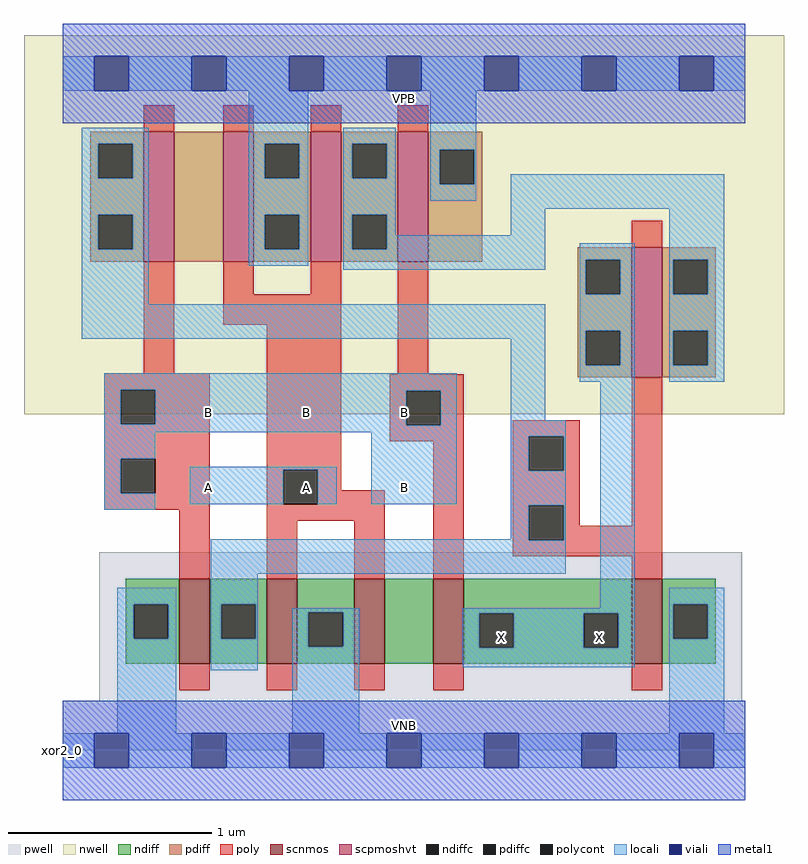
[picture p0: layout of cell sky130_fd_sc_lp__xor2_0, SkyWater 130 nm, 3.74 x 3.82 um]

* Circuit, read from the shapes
.subckt sky130_fd_sc_lp__xor2_0 A B VGND VNB VPB VPWR X
XM1 n1 B VGND VNB sky130_fd_pr__nfet_01v8 w=0.42 l=0.15
XM2 VGND A n1 VNB sky130_fd_pr__nfet_01v8 w=0.42 l=0.15
XM3 n2 A VGND VNB sky130_fd_pr__nfet_01v8 w=0.42 l=0.15
XM4 X B n2 VNB sky130_fd_pr__nfet_01v8 w=0.42 l=0.15
XM5 VGND n1 X VNB sky130_fd_pr__nfet_01v8 w=0.42 l=0.15
XM6 n3 B n1 VPB sky130_fd_pr__pfet_01v8_hvt w=0.64 l=0.15
XM7 VPWR A n3 VPB sky130_fd_pr__pfet_01v8_hvt w=0.64 l=0.15
XM8 n4 A VPWR VPB sky130_fd_pr__pfet_01v8_hvt w=0.64 l=0.15
XM9 VPWR B n4 VPB sky130_fd_pr__pfet_01v8_hvt w=0.64 l=0.15
XM10 n4 n1 X VPB sky130_fd_pr__pfet_01v8_hvt w=0.64 l=0.15
.ends

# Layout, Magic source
magic
tech sky130A
magscale 1 2
<< nwell >>
rect -38 331 710 704
<< pwell >>
rect 36 49 669 195
rect 0 0 672 49
<< scnmos >>
rect 115 85 145 169
rect 201 85 231 169
rect 287 85 317 169
rect 365 85 395 169
rect 560 85 590 169
<< scpmoshvt >>
rect 80 481 110 609
rect 158 481 188 609
rect 244 481 274 609
rect 330 481 360 609
rect 560 367 590 495
<< ndiff >>
rect 62 144 115 169
rect 62 110 70 144
rect 104 110 115 144
rect 62 85 115 110
rect 145 144 201 169
rect 145 110 156 144
rect 190 110 201 144
rect 145 85 201 110
rect 231 136 287 169
rect 231 102 242 136
rect 276 102 287 136
rect 231 85 287 102
rect 317 85 365 169
rect 395 135 560 169
rect 395 101 410 135
rect 444 101 513 135
rect 547 101 560 135
rect 395 85 560 101
rect 590 144 643 169
rect 590 110 601 144
rect 635 110 643 144
rect 590 85 643 110
<< pdiff >>
rect 27 597 80 609
rect 27 563 35 597
rect 69 563 80 597
rect 27 527 80 563
rect 27 493 35 527
rect 69 493 80 527
rect 27 481 80 493
rect 110 481 158 609
rect 188 597 244 609
rect 188 563 199 597
rect 233 563 244 597
rect 188 527 244 563
rect 188 493 199 527
rect 233 493 244 527
rect 188 481 244 493
rect 274 597 330 609
rect 274 563 285 597
rect 319 563 330 597
rect 274 527 330 563
rect 274 493 285 527
rect 319 493 330 527
rect 274 481 330 493
rect 360 591 413 609
rect 360 557 371 591
rect 405 557 413 591
rect 360 481 413 557
rect 507 483 560 495
rect 507 449 515 483
rect 549 449 560 483
rect 507 413 560 449
rect 507 379 515 413
rect 549 379 560 413
rect 507 367 560 379
rect 590 483 643 495
rect 590 449 601 483
rect 635 449 643 483
rect 590 413 643 449
rect 590 379 601 413
rect 635 379 643 413
rect 590 367 643 379
<< ndiffc >>
rect 70 110 104 144
rect 156 110 190 144
rect 242 102 276 136
rect 410 101 444 135
rect 513 101 547 135
rect 601 110 635 144
<< pdiffc >>
rect 35 563 69 597
rect 35 493 69 527
rect 199 563 233 597
rect 199 493 233 527
rect 285 563 319 597
rect 285 493 319 527
rect 371 557 405 591
rect 515 449 549 483
rect 515 379 549 413
rect 601 449 635 483
rect 601 379 635 413
<< poly >>
rect 80 609 110 635
rect 158 609 188 635
rect 244 609 274 635
rect 330 609 360 635
rect 560 495 590 521
rect 80 371 110 481
rect 158 449 188 481
rect 244 449 274 481
rect 158 419 274 449
rect 41 355 145 371
rect 41 321 57 355
rect 91 321 145 355
rect 41 287 145 321
rect 41 253 57 287
rect 91 253 145 287
rect 41 237 145 253
rect 115 169 145 237
rect 201 276 274 419
rect 330 370 360 481
rect 322 354 395 370
rect 322 320 338 354
rect 372 320 395 354
rect 322 304 395 320
rect 201 242 217 276
rect 251 256 274 276
rect 251 242 317 256
rect 201 226 317 242
rect 201 169 231 226
rect 287 169 317 226
rect 365 169 395 304
rect 443 309 509 325
rect 443 275 459 309
rect 493 275 509 309
rect 443 241 509 275
rect 443 207 459 241
rect 493 221 509 241
rect 560 221 590 367
rect 493 207 590 221
rect 443 191 590 207
rect 560 169 590 191
rect 115 59 145 85
rect 201 59 231 85
rect 287 59 317 85
rect 365 59 395 85
rect 560 59 590 85
<< polycont >>
rect 57 321 91 355
rect 57 253 91 287
rect 338 320 372 354
rect 217 242 251 276
rect 459 275 493 309
rect 459 207 493 241
<< locali >>
rect 0 649 31 683
rect 65 649 127 683
rect 161 649 223 683
rect 257 649 319 683
rect 353 649 415 683
rect 449 649 511 683
rect 545 649 607 683
rect 641 649 672 683
rect 19 597 85 613
rect 19 563 35 597
rect 69 563 85 597
rect 19 527 85 563
rect 19 493 35 527
rect 69 493 85 527
rect 19 439 85 493
rect 183 597 242 649
rect 183 563 199 597
rect 233 563 242 597
rect 183 527 242 563
rect 183 493 199 527
rect 233 493 242 527
rect 183 477 242 493
rect 276 597 328 613
rect 276 563 285 597
rect 319 563 328 597
rect 276 527 328 563
rect 362 591 407 649
rect 362 557 371 591
rect 405 557 407 591
rect 362 541 407 557
rect 276 493 285 527
rect 319 507 328 527
rect 441 533 651 567
rect 441 507 475 533
rect 319 493 475 507
rect 276 473 475 493
rect 509 483 563 499
rect 509 449 515 483
rect 549 449 563 483
rect 19 405 475 439
rect 41 355 388 371
rect 41 321 57 355
rect 91 354 388 355
rect 91 321 338 354
rect 41 320 338 321
rect 372 320 388 354
rect 41 313 388 320
rect 41 287 91 313
rect 41 253 57 287
rect 41 237 91 253
rect 125 276 270 279
rect 125 242 217 276
rect 251 242 270 276
rect 304 242 388 313
rect 441 325 475 405
rect 509 413 563 449
rect 509 379 515 413
rect 549 379 563 413
rect 509 363 563 379
rect 597 483 651 533
rect 597 449 601 483
rect 635 449 651 483
rect 597 413 651 449
rect 597 379 601 413
rect 635 379 651 413
rect 597 363 651 379
rect 441 309 495 325
rect 441 275 459 309
rect 493 275 495 309
rect 441 241 495 275
rect 441 208 459 241
rect 146 207 459 208
rect 493 207 495 241
rect 146 174 495 207
rect 54 144 112 160
rect 54 110 70 144
rect 104 110 112 144
rect 54 17 112 110
rect 146 144 192 174
rect 146 110 156 144
rect 190 110 192 144
rect 529 140 563 363
rect 146 79 192 110
rect 226 136 292 140
rect 226 102 242 136
rect 276 102 292 136
rect 226 17 292 102
rect 394 135 563 140
rect 394 101 410 135
rect 444 101 513 135
rect 547 101 563 135
rect 394 82 563 101
rect 597 144 651 160
rect 597 110 601 144
rect 635 110 651 144
rect 597 17 651 110
rect 0 -17 31 17
rect 65 -17 127 17
rect 161 -17 223 17
rect 257 -17 319 17
rect 353 -17 415 17
rect 449 -17 511 17
rect 545 -17 607 17
rect 641 -17 672 17
<< viali >>
rect 31 649 65 683
rect 127 649 161 683
rect 223 649 257 683
rect 319 649 353 683
rect 415 649 449 683
rect 511 649 545 683
rect 607 649 641 683
rect 31 -17 65 17
rect 127 -17 161 17
rect 223 -17 257 17
rect 319 -17 353 17
rect 415 -17 449 17
rect 511 -17 545 17
rect 607 -17 641 17
<< metal1 >>
rect 0 683 672 715
rect 0 649 31 683
rect 65 649 127 683
rect 161 649 223 683
rect 257 649 319 683
rect 353 649 415 683
rect 449 649 511 683
rect 545 649 607 683
rect 641 649 672 683
rect 0 617 672 649
rect 0 17 672 49
rect 0 -17 31 17
rect 65 -17 127 17
rect 161 -17 223 17
rect 257 -17 319 17
rect 353 -17 415 17
rect 449 -17 511 17
rect 545 -17 607 17
rect 641 -17 672 17
rect 0 -49 672 -17
<< labels >>
flabel pwell s 0 0 672 49 0 FreeSans 200 0 0 0 VNB
port 4 nsew ground bidirectional
flabel nwell s 0 617 672 666 0 FreeSans 200 0 0 0 VPB
port 5 nsew power bidirectional
rlabel comment s 0 0 0 0 4 xor2_0
flabel metal1 s 0 617 672 666 0 FreeSans 340 0 0 0 VPWR
port 6 nsew power bidirectional
flabel metal1 s 0 0 672 49 0 FreeSans 340 0 0 0 VGND
port 3 nsew ground bidirectional
flabel locali s 223 242 257 276 0 FreeSans 340 0 0 0 A
port 1 nsew signal input
flabel locali s 319 242 353 276 0 FreeSans 340 0 0 0 B
port 2 nsew signal input
flabel locali s 319 316 353 350 0 FreeSans 340 0 0 0 B
port 2 nsew signal input
flabel locali s 415 94 449 128 0 FreeSans 340 0 0 0 X
port 7 nsew signal output
flabel locali s 511 94 545 128 0 FreeSans 340 0 0 0 X
port 7 nsew signal output
flabel locali s 127 242 161 276 0 FreeSans 340 0 0 0 A
port 1 nsew signal input
flabel locali s 127 316 161 350 0 FreeSans 340 0 0 0 B
port 2 nsew signal input
flabel locali s 223 316 257 350 0 FreeSans 340 0 0 0 B
port 2 nsew signal input
<< properties >>
string LEFsite unit
string LEFclass CORE
string FIXED_BBOX 0 0 672 666
string GDS_FILE $PDKPATH/libs.ref/sky130_fd_sc_lp/gds/sky130_fd_sc_lp.gds
string LEFsymmetry X Y R90
string GDS_END 2201340
string GDS_START 2195104
<< end >>
